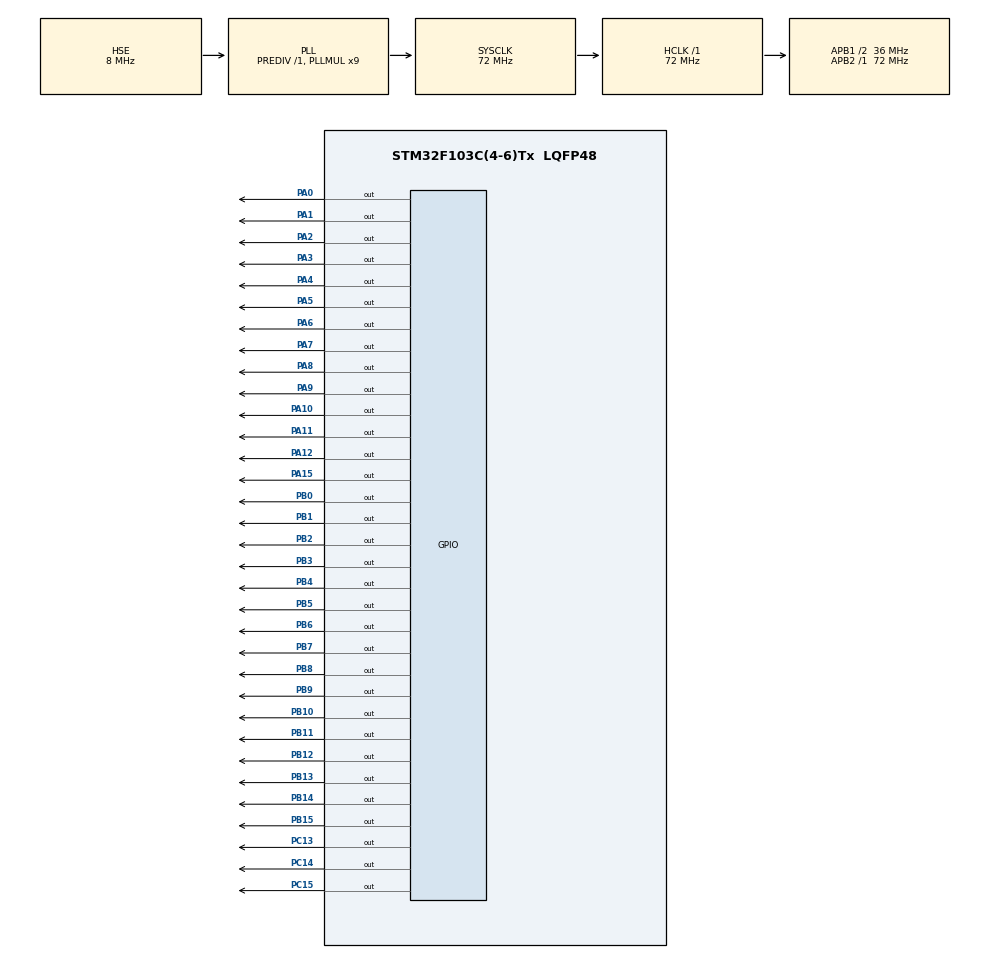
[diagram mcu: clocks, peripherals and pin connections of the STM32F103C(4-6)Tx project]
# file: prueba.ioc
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Mcu.Family=STM32F1
Mcu.Name=STM32F103C(4-6)Tx
Mcu.Package=LQFP48
NVIC.PriorityGroup=NVIC_PRIORITYGROUP_4
PA0-WKUP.Signal=GPIO_Output
PA1.Signal=GPIO_Output
PA10.Signal=GPIO_Output
PA11.Signal=GPIO_Output
PA12.Signal=GPIO_Output
PA13.Mode=Serial_Wire
PA13.Signal=SYS_JTMS-SWDIO
PA14.Mode=Serial_Wire
PA14.Signal=SYS_JTCK-SWCLK
PA15.Signal=GPIO_Output
PA2.Signal=GPIO_Output
PA3.Signal=GPIO_Output
PA4.Signal=GPIO_Output
PA5.Signal=GPIO_Output
PA6.Signal=GPIO_Output
PA7.Signal=GPIO_Output
PA8.Signal=GPIO_Output
PA9.Signal=GPIO_Output
PB0.Signal=GPIO_Output
PB1.Signal=GPIO_Output
PB10.Signal=GPIO_Output
PB11.Signal=GPIO_Output
PB12.Signal=GPIO_Output
PB13.Signal=GPIO_Output
PB14.Signal=GPIO_Output
PB15.Signal=GPIO_Output
PB2.Signal=GPIO_Output
PB3.Signal=GPIO_Output
PB4.Signal=GPIO_Output
PB5.Signal=GPIO_Output
PB6.Signal=GPIO_Output
PB7.Signal=GPIO_Output
PB8.Signal=GPIO_Output
PB9.Signal=GPIO_Output
PC13-TAMPER-RTC.Signal=GPIO_Output
PC14-OSC32_IN.Signal=GPIO_Output
PC15-OSC32_OUT.Signal=GPIO_Output
PD0-OSC_IN.Mode=HSE-External-Oscillator
PD0-OSC_IN.Signal=RCC_OSC_IN
PD1-OSC_OUT.Mode=HSE-External-Oscillator
PD1-OSC_OUT.Signal=RCC_OSC_OUT
ProjectManager.HeapSize=0x200
ProjectManager.StackSize=0x400
ProjectManager.TargetToolchain=STM32CubeIDE
RCC.AHBFreq_Value=72000000
RCC.APB1CLKDivider=RCC_HCLK_DIV2
RCC.APB1Freq_Value=36000000
RCC.APB1TimFreq_Value=72000000
RCC.APB2Freq_Value=72000000
RCC.APB2TimFreq_Value=72000000
RCC.HCLKFreq_Value=72000000
RCC.PLLMUL=RCC_PLL_MUL9
RCC.PLLSourceVirtual=RCC_PLLSOURCE_HSE
RCC.SYSCLKFreq_VALUE=72000000
RCC.SYSCLKSource=RCC_SYSCLKSOURCE_PLLCLK
RCC.USBFreq_Value=72000000
board=custom

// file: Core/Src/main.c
/* USER CODE BEGIN Header */
/**
  ******************************************************************************
  * @file           : main.c
  * @brief          : Main program body
  ******************************************************************************
  * @attention
  *
  * <h2><center>&copy; Copyright (c) 2020 STMicroelectronics.
  * All rights reserved.</center></h2>
  *
  * This software component is licensed by ST under BSD 3-Clause license,
  * the "License"; You may not use this file except in compliance with the
  * License. You may obtain a copy of the License at:
  *                        opensource.org/licenses/BSD-3-Clause
  *
  ******************************************************************************
  */
/* USER CODE END Header */

#include "main.h"

/* USER CODE BEGIN Includes */
#include "LiquidCrystal.h"
/* USER CODE END Includes */

void SystemClock_Config(void);
static void MX_GPIO_Init(void);

int main(void)
{

  /* MCU Configuration--------------------------------------------------------*/

  /* Reset of all peripherals, Initializes the Flash interface and the Systick. */
  HAL_Init();

  /* Configure the system clock */
  SystemClock_Config();

  /* Initialize all configured peripherals */
  MX_GPIO_Init();
  /* USER CODE BEGIN 2 */
  LiquidCrystal(GPIOA,GPIO_PIN_7,GPIO_PIN_8,GPIO_PIN_9,GPIO_PIN_10,GPIO_PIN_11,GPIO_PIN_12,GPIO_PIN_15);
  clear();
  /* USER CODE END 2 */

  /* Infinite loop */
  /* USER CODE BEGIN WHILE */
  while (1)
  {
	 HAL_GPIO_TogglePin(GPIOA, GPIO_PIN_7);
	 HAL_GPIO_TogglePin(GPIOA, GPIO_PIN_8);
	 HAL_GPIO_TogglePin(GPIOA, GPIO_PIN_9);
	 HAL_GPIO_TogglePin(GPIOA, GPIO_PIN_10);
	 HAL_GPIO_TogglePin(GPIOA, GPIO_PIN_11);
	 HAL_GPIO_TogglePin(GPIOA, GPIO_PIN_12);
	 HAL_GPIO_TogglePin(GPIOA, GPIO_PIN_15);
	 HAL_GPIO_TogglePin(GPIOA, GPIO_PIN_0);
	 HAL_GPIO_TogglePin(GPIOA, GPIO_PIN_1);
	 HAL_GPIO_TogglePin(GPIOA, GPIO_PIN_2);
	 HAL_GPIO_TogglePin(GPIOA, GPIO_PIN_3);
	 HAL_GPIO_TogglePin(GPIOA, GPIO_PIN_4);
	 HAL_GPIO_TogglePin(GPIOA, GPIO_PIN_5);
	 HAL_GPIO_TogglePin(GPIOA, GPIO_PIN_6);
	  HAL_Delay(1000);
    /* USER CODE END WHILE */

  }
}

void SystemClock_Config(void)
{
  RCC_OscInitTypeDef RCC_OscInitStruct = {0};
  RCC_ClkInitTypeDef RCC_ClkInitStruct = {0};

  /** Initializes the CPU, AHB and APB busses clocks
  */
  RCC_OscInitStruct.OscillatorType = RCC_OSCILLATORTYPE_HSE;
  RCC_OscInitStruct.HSEState = RCC_HSE_ON;
  RCC_OscInitStruct.HSEPredivValue = RCC_HSE_PREDIV_DIV1;
  RCC_OscInitStruct.HSIState = RCC_HSI_ON;
  RCC_OscInitStruct.PLL.PLLState = RCC_PLL_ON;
  RCC_OscInitStruct.PLL.PLLSource = RCC_PLLSOURCE_HSE;
  RCC_OscInitStruct.PLL.PLLMUL = RCC_PLL_MUL9;
  if (HAL_RCC_OscConfig(&RCC_OscInitStruct) != HAL_OK)
  {
    Error_Handler();
  }
  /** Initializes the CPU, AHB and APB busses clocks
  */
  RCC_ClkInitStruct.ClockType = RCC_CLOCKTYPE_HCLK|RCC_CLOCKTYPE_SYSCLK
                              |RCC_CLOCKTYPE_PCLK1|RCC_CLOCKTYPE_PCLK2;
  RCC_ClkInitStruct.SYSCLKSource = RCC_SYSCLKSOURCE_PLLCLK;
  RCC_ClkInitStruct.AHBCLKDivider = RCC_SYSCLK_DIV1;
  RCC_ClkInitStruct.APB1CLKDivider = RCC_HCLK_DIV2;
  RCC_ClkInitStruct.APB2CLKDivider = RCC_HCLK_DIV1;

  if (HAL_RCC_ClockConfig(&RCC_ClkInitStruct, FLASH_LATENCY_2) != HAL_OK)
  {
    Error_Handler();
  }
}

static void MX_GPIO_Init(void)
{
  GPIO_InitTypeDef GPIO_InitStruct = {0};

  /* GPIO Ports Clock Enable */
  __HAL_RCC_GPIOC_CLK_ENABLE();
  __HAL_RCC_GPIOD_CLK_ENABLE();
  __HAL_RCC_GPIOA_CLK_ENABLE();
  __HAL_RCC_GPIOB_CLK_ENABLE();

  /*Configure GPIO pin Output Level */
  HAL_GPIO_WritePin(GPIOC, GPIO_PIN_13|GPIO_PIN_14|GPIO_PIN_15, GPIO_PIN_RESET);

  /*Configure GPIO pin Output Level */
  HAL_GPIO_WritePin(GPIOA, GPIO_PIN_0|GPIO_PIN_1|GPIO_PIN_2|GPIO_PIN_3
                          |GPIO_PIN_4|GPIO_PIN_5|GPIO_PIN_6|GPIO_PIN_7
                          |GPIO_PIN_8|GPIO_PIN_9|GPIO_PIN_10|GPIO_PIN_11
                          |GPIO_PIN_12|GPIO_PIN_15, GPIO_PIN_RESET);

  /*Configure GPIO pin Output Level */
  HAL_GPIO_WritePin(GPIOB, GPIO_PIN_0|GPIO_PIN_1|GPIO_PIN_2|GPIO_PIN_10
                          |GPIO_PIN_11|GPIO_PIN_12|GPIO_PIN_13|GPIO_PIN_14
                          |GPIO_PIN_15|GPIO_PIN_3|GPIO_PIN_4|GPIO_PIN_5
                          |GPIO_PIN_6|GPIO_PIN_7|GPIO_PIN_8|GPIO_PIN_9, GPIO_PIN_RESET);

  /*Configure GPIO pins : PC13 PC14 PC15 */
  GPIO_InitStruct.Pin = GPIO_PIN_13|GPIO_PIN_14|GPIO_PIN_15;
  GPIO_InitStruct.Mode = GPIO_MODE_OUTPUT_PP;
  GPIO_InitStruct.Pull = GPIO_NOPULL;
  GPIO_InitStruct.Speed = GPIO_SPEED_FREQ_LOW;
  HAL_GPIO_Init(GPIOC, &GPIO_InitStruct);

  /*Configure GPIO pins : PA0 PA1 PA2 PA3
                           PA4 PA5 PA6 PA7
                           PA8 PA9 PA10 PA11
                           PA12 PA15 */
  GPIO_InitStruct.Pin = GPIO_PIN_0|GPIO_PIN_1|GPIO_PIN_2|GPIO_PIN_3
                          |GPIO_PIN_4|GPIO_PIN_5|GPIO_PIN_6|GPIO_PIN_7
                          |GPIO_PIN_8|GPIO_PIN_9|GPIO_PIN_10|GPIO_PIN_11
                          |GPIO_PIN_12|GPIO_PIN_15;
  GPIO_InitStruct.Mode = GPIO_MODE_OUTPUT_PP;
  GPIO_InitStruct.Pull = GPIO_NOPULL;
  GPIO_InitStruct.Speed = GPIO_SPEED_FREQ_LOW;
  HAL_GPIO_Init(GPIOA, &GPIO_InitStruct);

  /*Configure GPIO pins : PB0 PB1 PB2 PB10
                           PB11 PB12 PB13 PB14
                           PB15 PB3 PB4 PB5
                           PB6 PB7 PB8 PB9 */
  GPIO_InitStruct.Pin = GPIO_PIN_0|GPIO_PIN_1|GPIO_PIN_2|GPIO_PIN_10
                          |GPIO_PIN_11|GPIO_PIN_12|GPIO_PIN_13|GPIO_PIN_14
                          |GPIO_PIN_15|GPIO_PIN_3|GPIO_PIN_4|GPIO_PIN_5
                          |GPIO_PIN_6|GPIO_PIN_7|GPIO_PIN_8|GPIO_PIN_9;
  GPIO_InitStruct.Mode = GPIO_MODE_OUTPUT_PP;
  GPIO_InitStruct.Pull = GPIO_NOPULL;
  GPIO_InitStruct.Speed = GPIO_SPEED_FREQ_LOW;
  HAL_GPIO_Init(GPIOB, &GPIO_InitStruct);

}

void Error_Handler(void)
{
}

/************************ (C) COPYRIGHT STMicroelectronics *****END OF FILE****/
